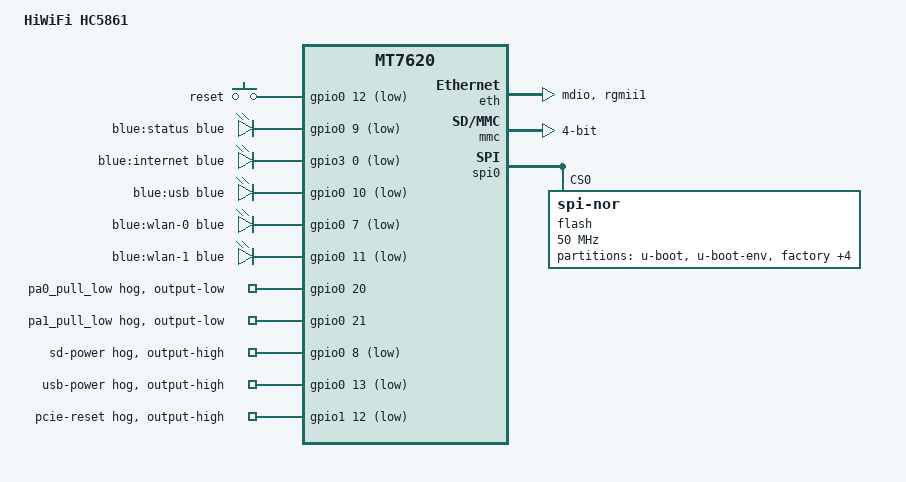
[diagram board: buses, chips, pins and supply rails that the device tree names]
// SPDX-License-Identifier: GPL-2.0-or-later

/dts-v1/;

#include "mt7620.dtsi"

#include <dt-bindings/gpio/gpio.h>
#include <dt-bindings/input/input.h>
#include <dt-bindings/leds/common.h>

/ {
	compatible = "hiwifi,hc5861", "mediatek,mt7620-soc";
	model = "HiWiFi HC5861";

	aliases {
		button-boot1 = &key_reset;
		led-status1 = &led_status;
		serial0 = &uartlite;
		spi0 = &spi0;
	};

	chosen {
		stdout-path = &uartlite;
	};

	config {
		button-reset-env;
	};

	gpio-keys {
		compatible = "gpio-keys";

		key_reset: reset {
			label = "reset";
			gpios = <&gpio0 12 GPIO_ACTIVE_LOW>;
			linux,code = <KEY_RESTART>;
		};
	};

	gpio-leds {
		compatible = "gpio-leds";

		led_status: led-status {
			label = "blue:status";
			color = <LED_COLOR_ID_BLUE>;
			function = LED_FUNCTION_STATUS;
			gpios = <&gpio0 9 GPIO_ACTIVE_LOW>;
			default-state = "on";
		};

		led-internet {
			label = "blue:internet";
			color = <LED_COLOR_ID_BLUE>;
			function = "internet";
			gpios = <&gpio3 0 GPIO_ACTIVE_LOW>;
			default-state = "off";
		};

		led-usb {
			label = "blue:usb";
			color = <LED_COLOR_ID_BLUE>;
			function = LED_FUNCTION_USB;
			gpios = <&gpio0 10 GPIO_ACTIVE_LOW>;
			default-state = "off";
		};

		led-wlan0 {
			label = "blue:wlan-0";
			color = <LED_COLOR_ID_BLUE>;
			function = LED_FUNCTION_WLAN;
			function-enumerator = <0>;
			gpios = <&gpio0 7 GPIO_ACTIVE_LOW>;
			default-state = "off";
		};

		led-wlan1 {
			label = "blue:wlan-1";
			color = <LED_COLOR_ID_BLUE>;
			function = LED_FUNCTION_WLAN;
			function-enumerator = <1>;
			gpios = <&gpio0 11 GPIO_ACTIVE_LOW>;
			default-state = "off";
		};
	};
};

&eth {
	pinctrl-names = "default";
	pinctrl-0 = <&gsw_pins>;

	port5 {
		phy-mode = "rgmii";
		phy-addr = <5>;
	};
};

&gpio0 {
	pa0_pull_low {
		gpio-hog;
		gpios = <20 GPIO_ACTIVE_HIGH>;
		output-low;
	};

	pa1_pull_low {
		gpio-hog;
		gpios = <21 GPIO_ACTIVE_HIGH>;
		output-low;
	};

	sd-power {
		gpio-hog;
		gpios = <8 GPIO_ACTIVE_LOW>;
		output-high;
	};

	usb-power {
		gpio-hog;
		gpios = <13 GPIO_ACTIVE_LOW>;
		output-high;
	};
};

&gpio1 {
	pcie-reset {
		gpio-hog;
		gpios = <12 GPIO_ACTIVE_LOW>;
		output-high;
	};
};

&mmc {
	status = "okay";

	bus-width = <4>;
	cap-sd-highspeed;
};

&pinctrl {
	gsw_pins: gsw_pins {
		mdio {
			groups = "mdio";
			function = "mdio";
		};

		rgmii1 {
			groups = "rgmii1";
			function = "rgmii1";
		};
	};
};

&spi0 {
	flash@0 {
		compatible = "jedec,spi-nor";
		reg = <0>;
		spi-max-frequency = <50000000>;

		partitions {
			compatible = "fixed-partitions";
			#address-cells = <1>;
			#size-cells = <1>;

			partition@0 {
				label = "u-boot";
				reg = <0x000000 0x030000>;
			};

			partition@30000 {
				label = "u-boot-env";
				reg = <0x030000 0x010000>;
			};

			partition@40000 {
				label = "factory";
				reg = <0x040000 0x010000>;
			};

			partition@50000 {
				label = "firmware";
				reg = <0x50000 0xf70000>;
			};

			partition@fc0000 {
				label = "oem";
				reg = <0xfc0000 0x020000>;
			};

			partition@fe0000 {
				label = "bdinfo";
				reg = <0xfe0000 0x010000>;
			};

			partition@ff0000 {
				label = "backup";
				reg = <0xff0000 0x010000>;
			};
		};
	};
};

&state_default {
	gpios {
		groups = "i2c", "uartf", "rgmii2", "perst", "pa", "wdt rst", \
			 "wled", "ephy led";
		function = "gpio";
	};

	sd_pins {
		groups = "nand";
		function = "sd";
	};
};
